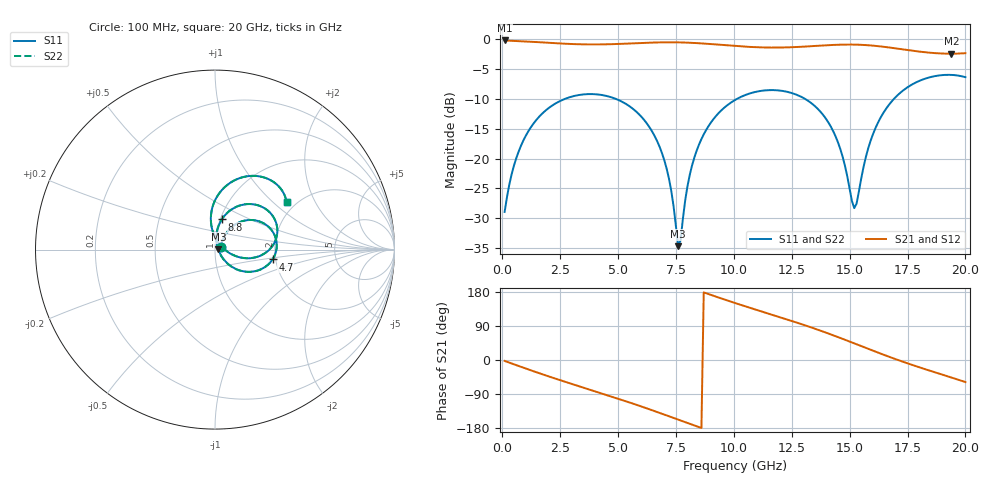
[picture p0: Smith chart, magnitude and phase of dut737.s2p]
! Touchstone file exported from HFSS 2026.1.0
!  File:  C:/ffzhzh/LocalFiles/Ansys_Project_Files/temp_train_TSV_RDL_737_1783204090_43440.aedt
!  Generated:  06:38:53 AM Jul  5, 2026
!  Design:  TSV_RDL
!  Project:  temp_train_TSV_RDL_737_1783204090_43440
! Variables:
!  h_bsmrdl = 4.26um
!  h_ox = 20um
!  h_rdl = 5um
!  h_sub = 68.2um
!  h_tmrdl = 4.94um
!  h_tsv = 68.2um
!  h_via = 3um
!  l_bsmrdl = 902.19um
!  l_sub = 6592.62um
!  l_tmrdl = 842.06um
!  m_sub = 200um
!  pitch = 36.83um
!  r_tsv = 13.89um
!  s_tmrdl = 10um
!  w_bsmrdl = 28.69um
!  w_sub = 500um
!  w_tmrdl = 10.58um
!  x_tsv_center1 = 847.35um
!  x_tsv_center2 = 1778.23um
!  x_tsv_center3 = 2630.87um
!  x_tsv_center4 = 3561.75um
!  x_tsv_center5 = 4414.39um
!  x_tsv_center6 = 5345.27um
# GHz S MA R 50.000000
! Terminal data exported
! Port[1] = TM_RDL1_1_T1
! Port[2] = TM_RDL5_1_T1
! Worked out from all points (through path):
!   200 points, 100 MHz to 20 GHz, reference 50 ohm
!   highest |S21| = -0.28 dB at 100 MHz (marker M1); lowest = -2.5 dB at 19.4 GHz (marker M2)
!   group delay of S21, straight-line fit = 58.1 ps
!   lowest |S11| = -34.6 dB at 7.6 GHz (marker M3), VSWR 1.04, Z = 51.9 + j0.116 ohm
!   |S11| at or under -10 dB: start of sweep to 2.729 GHz; 4.88 GHz to 10.15 GHz (5.273 GHz wide, 70.2 % of centre); 13.06 GHz to 16.92 GHz (3.867 GHz wide, 25.8 % of centre)
!   |S22| runs from -35.1 to -6.0 dB; largest |S21 - S12| = 1.7e-14
!   S11 on the Smith chart (normalised r, x): 100 MHz: 1.07, +0.04; 4.7 GHz: 1.93, -0.23; 8.8 GHz: 1.02, +0.35; 20 GHz: 1.79, +1.22
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0.1  0.03579 27.3  0.9687 -2.4  0.9687 -2.4  0.03579 27.3
! Gamma 0 0 0 0
! Port Impedance 50 0 50 0
0.5  0.08678 54.2  0.9609 -11.3  0.9609 -11.3  0.08678 54.2
1.2  0.1782 51.3  0.9463 -26.5  0.9463 -26.5  0.1782 51.3
2.2  0.2807 35.2  0.9208 -47.3  0.9208 -47.3  0.2808 35.2
3.5  0.3431 12.0  0.8988 -72.8  0.8988 -72.8  0.3432 12.0
4.7  0.3252 -9.7  0.9016 -96.1  0.9016 -96.1  0.3253 -9.8
5.9  0.2348 -31.7  0.921 -120.4  0.921 -120.4  0.2349 -31.9
6.8  0.1244 -46.3  0.9335 -139.7  0.9335 -139.7  0.1244 -46.8
7.3  0.05341 -45.6  0.9352 -150.7  0.9352 -150.7  0.05325 -46.8
7.6  0.01853 3.5  0.9338 -157.4  0.9338 -157.4  0.01748 1.8
8.1  0.07364 83.6  0.9271 -168.5  0.9271 -168.5  0.07315 84.5
8.8  0.1727 77.1  0.91 176.2  0.91 176.2  0.1723 77.5
10.1  0.3122 54.3  0.8699 149.4  0.8699 149.4  0.312 54.5
11.9  0.3711 22.7  0.8451 114.7  0.8451 114.7  0.371 22.9
13.4  0.2847 -3.3  0.8687 84.7  0.8687 84.7  0.2847 -3.1
14.4  0.1521 -17.2  0.8906 62.7  0.8906 62.7  0.1522 -16.9
15.2  0.03853 36.7  0.8946 43.9  0.8946 43.9  0.03902 36.7
15.9  0.1396 98.6  0.8806 27.2  0.8806 27.2  0.1397 98.5
16.7  0.2812 89.3  0.8468 8.6  0.8468 8.6  0.2812 89.3
18  0.4444 66.7  0.7823 -19.1  0.7823 -19.1  0.4444 66.7
19.4  0.4995 43.2  0.7511 -46.3  0.7511 -46.3  0.4995 43.2
20  0.4778 33.4  0.7587 -58.2  0.7587 -58.2  0.4778 33.4
